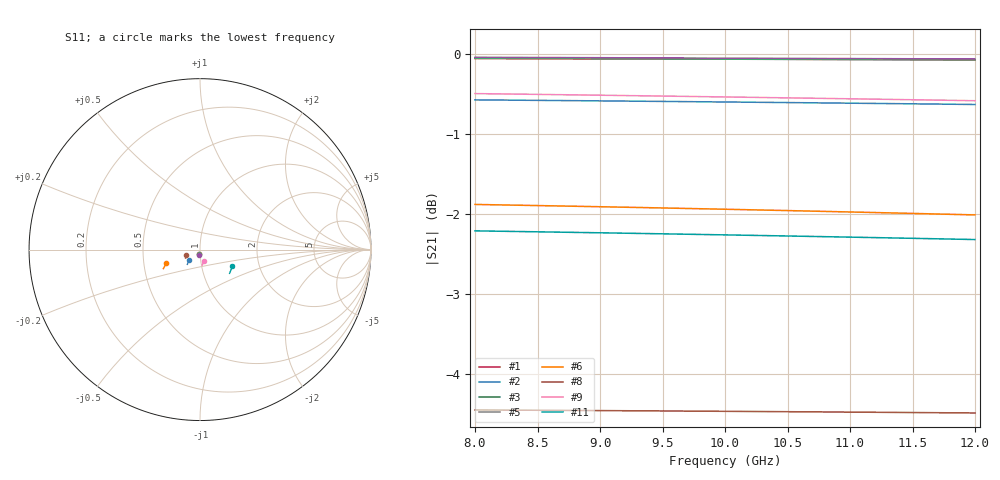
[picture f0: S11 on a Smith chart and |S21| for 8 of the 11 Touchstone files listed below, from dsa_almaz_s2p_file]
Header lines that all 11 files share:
# ghz S db R 50
! 2 Port Network Data from SP1.SP block
! freq  dbS11  angS11  dbS21  angS21  dbS12  angS12  dbS22  angS22
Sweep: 8 GHz to 12 GHz
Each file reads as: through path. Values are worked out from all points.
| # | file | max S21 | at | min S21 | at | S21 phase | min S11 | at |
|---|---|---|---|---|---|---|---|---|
| 1 | 0.5_45_0.s2p | -0.05 dB | 8 GHz | -0.1 dB | 12 GHz | -2 deg at 10 GHz | -31.6 dB | 8 GHz |
| 2 | 0.5_45_1.s2p | -0.57 dB | 8 GHz | -0.6 dB | 12 GHz | -4 deg at 10 GHz | -21.1 dB | 8 GHz |
| 3 | 1_30_0.s2p | -0.05 dB | 8 GHz | -0.1 dB | 12 GHz | -2 deg at 10 GHz | -30.7 dB | 8 GHz |
| 4 | 1_30_1.s2p | -1.02 dB | 8 GHz | -1.1 dB | 12 GHz | -5 deg at 10 GHz | -17.7 dB | 8 GHz |
| 5 | 2_22.1_0.s2p | -0.04 dB | 8 GHz | -0.1 dB | 12 GHz | -2 deg at 10 GHz | -30.1 dB | 8 GHz |
| 6 | 2_26_1.s2p | -1.88 dB | 8 GHz | -2.0 dB | 12 GHz | -7 deg at 10 GHz | -13.4 dB | 8 GHz |
| 7 | 4_17.9_0.s2p | -0.50 dB | 8 GHz | -0.5 dB | 12 GHz | -2 deg at 10 GHz | -25.4 dB | 8 GHz |
| 8 | 4_17.9_1.s2p | -4.45 dB | 8 GHz | -4.5 dB | 12 GHz | -3 deg at 10 GHz | -21.2 dB | 8 GHz |
| 9 | 8_14.1_0.s2p | -0.49 dB | 8 GHz | -0.6 dB | 12 GHz | -5 deg at 10 GHz | -23.3 dB | 8 GHz |
| 10 | 8_14.1_1.s2p | -8.41 dB | 8 GHz | -8.4 dB | 12 GHz | -1 deg at 10 GHz | -20.9 dB | 8 GHz |
| 11 | 16_12.9_0.s2p | -2.21 dB | 8 GHz | -2.3 dB | 12 GHz | -7 deg at 10 GHz | -13.5 dB | 8 GHz |
